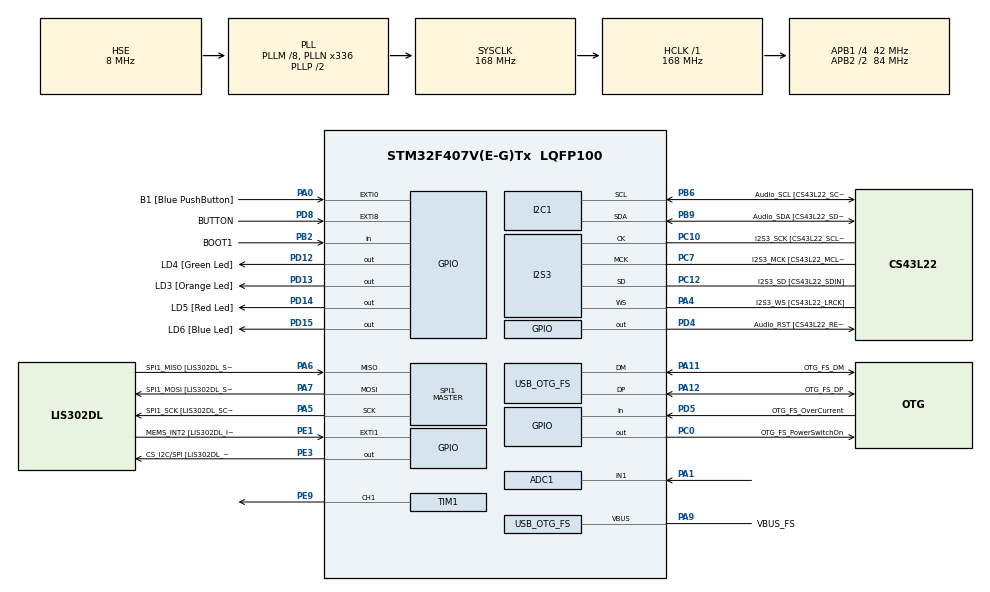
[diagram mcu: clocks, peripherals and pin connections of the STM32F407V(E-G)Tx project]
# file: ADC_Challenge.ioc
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ADC1.Channel-0\#ChannelRegularConversion=ADC_CHANNEL_1
ADC1.ContinuousConvMode=ENABLE
ADC1.NbrOfConversionFlag=1
ADC1.Rank-0\#ChannelRegularConversion=1
ADC1.SamplingTime-0\#ChannelRegularConversion=ADC_SAMPLETIME_480CYCLES
ADC1.master=1
I2S3.AudioFreq-Half_Duplex_Master=I2S_AUDIOFREQ_96K
I2S3.ErrorAudioFreq=-2.34 %
I2S3.ErrorAudioFreq-Half_Duplex_Master=0.8 %
I2S3.FullDuplexMode=I2S_FULLDUPLEXMODE_DISABLE
I2S3.Instance=SPI$Index
I2S3.RealAudioFreq=93.75 KHz
I2S3.RealAudioFreq-Half_Duplex_Master=96.774 KHz
I2S3.VirtualMode=I2S_MODE_MASTER
Mcu.Family=STM32F4
Mcu.Name=STM32F407V(E-G)Tx
Mcu.Package=LQFP100
NVIC.ADC_IRQn=true\:0\:0\:false\:false\:true\:true\:true\:true
NVIC.OTG_FS_IRQn=true\:0\:0\:false\:false\:true\:true\:true\:true
NVIC.PriorityGroup=NVIC_PRIORITYGROUP_0
NVIC.TIM2_IRQn=true\:0\:0\:false\:false\:true\:true\:true\:true
PA0-WKUP.GPIO_Label=B1 [Blue PushButton]
PA0-WKUP.GPIO_ModeDefaultEXTI=GPIO_MODE_EVT_RISING
PA0-WKUP.GPIO_PuPd=GPIO_NOPULL
PA0-WKUP.Signal=GPXTI0
PA1.Signal=ADCx_IN1
PA10.GPIO_Label=OTG_FS_ID
PA10.GPIO_Mode=GPIO_MODE_AF_PP
PA10.GPIO_PuPd=GPIO_NOPULL
PA10.GPIO_Speed=GPIO_SPEED_FREQ_LOW
PA10.Signal=USB_OTG_FS_ID
PA11.GPIO_Label=OTG_FS_DM
PA11.GPIO_Mode=GPIO_MODE_AF_PP
PA11.GPIO_PuPd=GPIO_NOPULL
PA11.GPIO_Speed=GPIO_SPEED_FREQ_LOW
PA11.Mode=Host_Only
PA11.Signal=USB_OTG_FS_DM
PA12.GPIO_Label=OTG_FS_DP
PA12.GPIO_Mode=GPIO_MODE_AF_PP
PA12.GPIO_PuPd=GPIO_NOPULL
PA12.GPIO_Speed=GPIO_SPEED_FREQ_LOW
PA12.Mode=Host_Only
PA12.Signal=USB_OTG_FS_DP
PA13.GPIO_Label=SWDIO
PA13.Mode=Serial_Wire
PA13.Signal=SYS_JTMS-SWDIO
PA14.GPIO_Label=SWCLK
PA14.Mode=Serial_Wire
PA14.Signal=SYS_JTCK-SWCLK
PA4.GPIO_Label=I2S3_WS [CS43L22_LRCK]
PA4.GPIO_Mode=GPIO_MODE_AF_PP
PA4.GPIO_PuPd=GPIO_NOPULL
PA4.GPIO_Speed=GPIO_SPEED_FREQ_LOW
PA4.Mode=Half_Duplex_Master
PA4.Signal=I2S3_WS
PA5.GPIO_Label=SPI1_SCK [LIS302DL_SCL/SPC]
PA5.GPIO_Mode=GPIO_MODE_AF_PP
PA5.GPIO_PuPd=GPIO_NOPULL
PA5.GPIO_Speed=GPIO_SPEED_FREQ_LOW
PA5.Mode=Full_Duplex_Master
PA5.Signal=SPI1_SCK
PA6.GPIO_Label=SPI1_MISO [LIS302DL_SDO]
PA6.GPIO_Mode=GPIO_MODE_AF_PP
PA6.GPIO_PuPd=GPIO_NOPULL
PA6.GPIO_Speed=GPIO_SPEED_FREQ_LOW
PA6.Mode=Full_Duplex_Master
PA6.Signal=SPI1_MISO
PA7.GPIO_Label=SPI1_MOSI [LIS302DL_SDA/SDI/SDO]
PA7.GPIO_Mode=GPIO_MODE_AF_PP
PA7.GPIO_PuPd=GPIO_NOPULL
PA7.GPIO_Speed=GPIO_SPEED_FREQ_LOW
PA7.Mode=Full_Duplex_Master
PA7.Signal=SPI1_MOSI
PA9.GPIO_Label=VBUS_FS
PA9.GPIO_Mode=GPIO_MODE_INPUT
PA9.GPIO_PuPd=GPIO_NOPULL
PA9.Mode=Activate_VBUS
PA9.Signal=USB_OTG_FS_VBUS
PB10.GPIO_Label=CLK_IN [MP45DT02_CLK]
PB10.GPIO_Mode=GPIO_MODE_AF_PP
PB10.GPIO_PuPd=GPIO_NOPULL
PB10.GPIO_Speed=GPIO_SPEED_FREQ_LOW
PB10.Signal=I2S2_CK
PB2.GPIO_Label=BOOT1
PB2.GPIO_Mode=GPIO_MODE_INPUT
PB2.GPIO_PuPd=GPIO_NOPULL
PB2.Signal=GPIO_Input
PB3.GPIO_Label=SWO
PB3.Signal=SYS_JTDO-SWO
PB6.GPIO_Label=Audio_SCL [CS43L22_SCL]
PB6.GPIO_Mode=GPIO_MODE_AF_OD
PB6.GPIO_Pu=GPIO_PULLUP
PB6.GPIO_PuPd=GPIO_NOPULL
PB6.GPIO_Speed=GPIO_SPEED_FREQ_LOW
PB6.Mode=I2C
PB6.Signal=I2C1_SCL
PB9.GPIO_Label=Audio_SDA [CS43L22_SDA]
PB9.GPIO_Mode=GPIO_MODE_AF_OD
PB9.GPIO_Pu=GPIO_PULLUP
PB9.GPIO_PuPd=GPIO_NOPULL
PB9.GPIO_Speed=GPIO_SPEED_FREQ_LOW
PB9.Mode=I2C
PB9.Signal=I2C1_SDA
PC0.GPIO_Label=OTG_FS_PowerSwitchOn
PC0.GPIO_PuPd=GPIO_NOPULL
PC0.GPIO_Speed=GPIO_SPEED_FREQ_LOW
PC0.PinState=GPIO_PIN_SET
PC0.Signal=GPIO_Output
PC10.GPIO_Label=I2S3_SCK [CS43L22_SCLK]
PC10.GPIO_Mode=GPIO_MODE_AF_PP
PC10.GPIO_PuPd=GPIO_NOPULL
PC10.GPIO_Speed=GPIO_SPEED_FREQ_LOW
PC10.Mode=Half_Duplex_Master
PC10.Signal=I2S3_CK
PC12.GPIO_Label=I2S3_SD [CS43L22_SDIN]
PC12.GPIO_Mode=GPIO_MODE_AF_PP
PC12.GPIO_PuPd=GPIO_NOPULL
PC12.GPIO_Speed=GPIO_SPEED_FREQ_LOW
PC12.Mode=Half_Duplex_Master
PC12.Signal=I2S3_SD
PC14-OSC32_IN.GPIO_Label=PC14-OSC32_IN
PC14-OSC32_IN.Mode=LSE-External-Oscillator
PC14-OSC32_IN.Signal=RCC_OSC32_IN
PC15-OSC32_OUT.GPIO_Label=PC15-OSC32_OUT
PC15-OSC32_OUT.Mode=LSE-External-Oscillator
PC15-OSC32_OUT.Signal=RCC_OSC32_OUT
PC3.GPIO_Label=PDM_OUT [MP45DT02_DOUT]
PC3.GPIO_Mode=GPIO_MODE_AF_PP
PC3.GPIO_PuPd=GPIO_NOPULL
PC3.GPIO_Speed=GPIO_SPEED_FREQ_LOW
PC3.Signal=I2S2_SD
PC7.GPIO_Label=I2S3_MCK [CS43L22_MCLK]
PC7.GPIO_Mode=GPIO_MODE_AF_PP
PC7.GPIO_PuPd=GPIO_NOPULL
PC7.GPIO_Speed=GPIO_SPEED_FREQ_LOW
PC7.Mode=Master_Clock_Activated
PC7.Signal=I2S3_MCK
PD12.GPIO_Label=LD4 [Green Led]
PD12.GPIO_PuPd=GPIO_NOPULL
PD12.GPIO_Speed=GPIO_SPEED_FREQ_LOW
PD12.Signal=GPIO_Output
PD13.GPIO_Label=LD3 [Orange Led]
PD13.GPIO_PuPd=GPIO_NOPULL
PD13.GPIO_Speed=GPIO_SPEED_FREQ_LOW
PD13.Signal=GPIO_Output
PD14.GPIO_Label=LD5 [Red Led]
PD14.GPIO_PuPd=GPIO_NOPULL
PD14.GPIO_Speed=GPIO_SPEED_FREQ_LOW
PD14.Signal=GPIO_Output
PD15.GPIO_Label=LD6 [Blue Led]
PD15.GPIO_PuPd=GPIO_NOPULL
PD15.GPIO_Speed=GPIO_SPEED_FREQ_LOW
PD15.Signal=GPIO_Output
PD4.GPIO_Label=Audio_RST [CS43L22_RESET]
PD4.GPIO_PuPd=GPIO_NOPULL
PD4.GPIO_Speed=GPIO_SPEED_FREQ_LOW
PD4.Signal=GPIO_Output
PD5.GPIO_Label=OTG_FS_OverCurrent
PD5.GPIO_Mode=GPIO_MODE_INPUT
PD5.GPIO_PuPd=GPIO_NOPULL
PD5.Signal=GPIO_Input
PD8.GPIO_Label=BUTTON
PD8.GPIO_PuPd=GPIO_PULLDOWN
PD8.Signal=GPXTI8
PE1.GPIO_Label=MEMS_INT2 [LIS302DL_INT2]
PE1.GPIO_ModeDefaultEXTI=GPIO_MODE_EVT_RISING
PE1.GPIO_PuPd=GPIO_NOPULL
PE1.Signal=GPXTI1
PE3.GPIO_Label=CS_I2C/SPI [LIS302DL_CS_I2C/SPI]
PE3.GPIO_PuPd=GPIO_NOPULL
PE3.GPIO_Speed=GPIO_SPEED_FREQ_LOW
PE3.Signal=GPIO_Output
PE9.Signal=S_TIM1_CH1
PH0-OSC_IN.GPIO_Label=PH0-OSC_IN
PH0-OSC_IN.Mode=HSE-External-Oscillator
PH0-OSC_IN.Signal=RCC_OSC_IN
PH1-OSC_OUT.GPIO_Label=PH1-OSC_OUT
PH1-OSC_OUT.Mode=HSE-External-Oscillator
PH1-OSC_OUT.Signal=RCC_OSC_OUT
ProjectManager.HeapSize=0x200
ProjectManager.StackSize=0x400
ProjectManager.TargetToolchain=STM32CubeIDE
RCC.48MHZClocksFreq_Value=48000000
RCC.AHBFreq_Value=168000000
RCC.APB1CLKDivider=RCC_HCLK_DIV4
RCC.APB1Freq_Value=42000000
RCC.APB1TimFreq_Value=84000000
RCC.APB2CLKDivider=RCC_HCLK_DIV2
RCC.APB2Freq_Value=84000000
RCC.APB2TimFreq_Value=168000000
RCC.CortexFreq_Value=168000000
RCC.HCLKFreq_Value=168000000
RCC.HSE_VALUE=8000000
RCC.HSI_VALUE=16000000
RCC.PLLM=8
RCC.PLLN=336
RCC.PLLQ=7
RCC.SYSCLKFreq_VALUE=168000000
RCC.SYSCLKSource=RCC_SYSCLKSOURCE_PLLCLK
RCC.VCOOutputFreq_Value=336000000
SH.ADCx_IN1.0=ADC1_IN1,IN1
SH.S_TIM1_CH1.0=TIM1_CH1,PWM Generation1 CH1
SPI1.BaudRatePrescaler-Full_Duplex_Master=SPI_BAUDRATEPRESCALER_2
SPI1.CalculateBaudRate-Full_Duplex_Master=42.0 MBits/s
SPI1.Direction=SPI_DIRECTION_2LINES
SPI1.Mode=SPI_MODE_MASTER
SPI1.Mode-Full_Duplex_Master=SPI_MODE_MASTER
SPI1.VirtualType=VM_MASTER
TIM1.Channel-PWM\ Generation1\ CH1=TIM_CHANNEL_1
TIM1.Period=100-1
TIM1.Prescaler=168-1
TIM1.Pulse-PWM\ Generation1\ CH1=50
TIM2.Period=200-1
USB_HOST.BSP.number=1
USB_HOST.USBH_HandleTypeDef-CDC_FS=hUsbHostFS
USB_HOST.VirtualModeFS=Cdc
USB_HOST0.BSP.STBoard=false
USB_HOST0.BSP.api=Unknown
USB_HOST0.BSP.instance=PC0
USB_HOST0.BSP.ip=GPIO
USB_HOST0.BSP.mode=Output
USB_HOST0.BSP.name=Drive_VBUS_FS
USB_HOST0.BSP.solution=PC0
USB_OTG_FS.VirtualMode=Host_Only
USB_OTG_FS.phy_itface=HCD_PHY_EMBEDDED
VP_TIM2_VS_ClockSourceINT.Mode=Internal
VP_USB_HOST_VS_USB_HOST_CDC_FS.Mode=CDC_FS
board=STM32F407G-DISC1

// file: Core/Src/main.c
/* USER CODE BEGIN Header */
/**
  ******************************************************************************
  * @file           : main.c
  * @brief          : Main program body
  ******************************************************************************
  * @attention
  *
  * Copyright (c) 2025 STMicroelectronics.
  * All rights reserved.
  *
  * This software is licensed under terms that can be found in the LICENSE file
  * in the root directory of this software component.
  * If no LICENSE file comes with this software, it is provided AS-IS.
  *
  ******************************************************************************
  */
/* USER CODE END Header */
#include "main.h"
#include "usb_host.h"

ADC_HandleTypeDef hadc1;

I2C_HandleTypeDef hi2c1;

I2S_HandleTypeDef hi2s3;

SPI_HandleTypeDef hspi1;

TIM_HandleTypeDef htim1;
TIM_HandleTypeDef htim2;

/* USER CODE BEGIN PV */
uint16_t batteryValue = 0;
uint16_t batteryVoltage = 0;

uint16_t buttonCount = 0;

/* USER CODE END PV */

void SystemClock_Config(void);
static void MX_GPIO_Init(void);
static void MX_I2C1_Init(void);
static void MX_I2S3_Init(void);
static void MX_SPI1_Init(void);
static void MX_ADC1_Init(void);
static void MX_TIM1_Init(void);
static void MX_TIM2_Init(void);
void MX_USB_HOST_Process(void);

int main(void)
{

  /* MCU Configuration--------------------------------------------------------*/

  /* Reset of all peripherals, Initializes the Flash interface and the Systick. */
  HAL_Init();

  /* Configure the system clock */
  SystemClock_Config();

  /* Initialize all configured peripherals */
  MX_GPIO_Init();
  MX_I2C1_Init();
  MX_I2S3_Init();
  MX_SPI1_Init();
  MX_USB_HOST_Init();
  MX_ADC1_Init();
  MX_TIM1_Init();
  MX_TIM2_Init();
  /* USER CODE BEGIN 2 */
  HAL_ADC_Start_IT(&hadc1);
  /* USER CODE END 2 */

  /* Infinite loop */
  /* USER CODE BEGIN WHILE */
  while (1)
  {
	// Logic for PWM output (outputs 0 when battery is less than 6.5V, 5kHz when 6.5-7, and 10kHz when >7)
	if(batteryVoltage < 6.5) {
		HAL_TIM_PWM_Stop(&htim1,TIM_CHANNEL_1);
	} else if(batteryVoltage > 7) {
		HAL_TIM_PWM_Stop(&htim1, TIM_CHANNEL_1);
		__HAL_TIM_SET_AUTORELOAD(&htim1, 100);
		__HAL_TIM_SET_COMPARE(&htim1, TIM_CHANNEL_1, 50);
		__HAL_TIM_SET_COUNTER(&htim1, 0);
		TIM1->EGR = TIM_EGR_UG;
		HAL_TIM_PWM_Start(&htim1, TIM_CHANNEL_1);
	} else {
		HAL_TIM_PWM_Stop(&htim1,TIM_CHANNEL_1);
		__HAL_TIM_SET_AUTORELOAD(&htim1, 200);
		__HAL_TIM_SET_COMPARE(&htim1, TIM_CHANNEL_1, 100);
		__HAL_TIM_SET_COUNTER(&htim1, 0);
		TIM1->EGR = TIM_EGR_UG;
		HAL_TIM_PWM_Start(&htim1, TIM_CHANNEL_1);
	}
    /* USER CODE END WHILE */
    MX_USB_HOST_Process();

  }
}

void SystemClock_Config(void)
{
  RCC_OscInitTypeDef RCC_OscInitStruct = {0};
  RCC_ClkInitTypeDef RCC_ClkInitStruct = {0};

  /** Configure the main internal regulator output voltage
  */
  __HAL_RCC_PWR_CLK_ENABLE();
  __HAL_PWR_VOLTAGESCALING_CONFIG(PWR_REGULATOR_VOLTAGE_SCALE1);

  /** Initializes the RCC Oscillators according to the specified parameters
  * in the RCC_OscInitTypeDef structure.
  */
  RCC_OscInitStruct.OscillatorType = RCC_OSCILLATORTYPE_HSE;
  RCC_OscInitStruct.HSEState = RCC_HSE_ON;
  RCC_OscInitStruct.PLL.PLLState = RCC_PLL_ON;
  RCC_OscInitStruct.PLL.PLLSource = RCC_PLLSOURCE_HSE;
  RCC_OscInitStruct.PLL.PLLM = 8;
  RCC_OscInitStruct.PLL.PLLN = 336;
  RCC_OscInitStruct.PLL.PLLP = RCC_PLLP_DIV2;
  RCC_OscInitStruct.PLL.PLLQ = 7;
  if (HAL_RCC_OscConfig(&RCC_OscInitStruct) != HAL_OK)
  {
    Error_Handler();
  }

  /** Initializes the CPU, AHB and APB buses clocks
  */
  RCC_ClkInitStruct.ClockType = RCC_CLOCKTYPE_HCLK|RCC_CLOCKTYPE_SYSCLK
                              |RCC_CLOCKTYPE_PCLK1|RCC_CLOCKTYPE_PCLK2;
  RCC_ClkInitStruct.SYSCLKSource = RCC_SYSCLKSOURCE_PLLCLK;
  RCC_ClkInitStruct.AHBCLKDivider = RCC_SYSCLK_DIV1;
  RCC_ClkInitStruct.APB1CLKDivider = RCC_HCLK_DIV4;
  RCC_ClkInitStruct.APB2CLKDivider = RCC_HCLK_DIV2;

  if (HAL_RCC_ClockConfig(&RCC_ClkInitStruct, FLASH_LATENCY_5) != HAL_OK)
  {
    Error_Handler();
  }
}

static void MX_ADC1_Init(void)
{

  ADC_ChannelConfTypeDef sConfig = {0};

  /** Configure the global features of the ADC (Clock, Resolution, Data Alignment and number of conversion)
  */
  hadc1.Instance = ADC1;
  hadc1.Init.ClockPrescaler = ADC_CLOCK_SYNC_PCLK_DIV4;
  hadc1.Init.Resolution = ADC_RESOLUTION_12B;
  hadc1.Init.ScanConvMode = DISABLE;
  hadc1.Init.ContinuousConvMode = ENABLE;
  hadc1.Init.DiscontinuousConvMode = DISABLE;
  hadc1.Init.ExternalTrigConvEdge = ADC_EXTERNALTRIGCONVEDGE_NONE;
  hadc1.Init.ExternalTrigConv = ADC_SOFTWARE_START;
  hadc1.Init.DataAlign = ADC_DATAALIGN_RIGHT;
  hadc1.Init.NbrOfConversion = 1;
  hadc1.Init.DMAContinuousRequests = DISABLE;
  hadc1.Init.EOCSelection = ADC_EOC_SINGLE_CONV;
  if (HAL_ADC_Init(&hadc1) != HAL_OK)
  {
    Error_Handler();
  }

  /** Configure for the selected ADC regular channel its corresponding rank in the sequencer and its sample time.
  */
  sConfig.Channel = ADC_CHANNEL_1;
  sConfig.Rank = 1;
  sConfig.SamplingTime = ADC_SAMPLETIME_480CYCLES;
  if (HAL_ADC_ConfigChannel(&hadc1, &sConfig) != HAL_OK)
  {
    Error_Handler();
  }

}

static void MX_I2C1_Init(void)
{

  hi2c1.Instance = I2C1;
  hi2c1.Init.ClockSpeed = 100000;
  hi2c1.Init.DutyCycle = I2C_DUTYCYCLE_2;
  hi2c1.Init.OwnAddress1 = 0;
  hi2c1.Init.AddressingMode = I2C_ADDRESSINGMODE_7BIT;
  hi2c1.Init.DualAddressMode = I2C_DUALADDRESS_DISABLE;
  hi2c1.Init.OwnAddress2 = 0;
  hi2c1.Init.GeneralCallMode = I2C_GENERALCALL_DISABLE;
  hi2c1.Init.NoStretchMode = I2C_NOSTRETCH_DISABLE;
  if (HAL_I2C_Init(&hi2c1) != HAL_OK)
  {
    Error_Handler();
  }

}

static void MX_I2S3_Init(void)
{

  hi2s3.Instance = SPI3;
  hi2s3.Init.Mode = I2S_MODE_MASTER_TX;
  hi2s3.Init.Standard = I2S_STANDARD_PHILIPS;
  hi2s3.Init.DataFormat = I2S_DATAFORMAT_16B;
  hi2s3.Init.MCLKOutput = I2S_MCLKOUTPUT_ENABLE;
  hi2s3.Init.AudioFreq = I2S_AUDIOFREQ_96K;
  hi2s3.Init.CPOL = I2S_CPOL_LOW;
  hi2s3.Init.ClockSource = I2S_CLOCK_PLL;
  hi2s3.Init.FullDuplexMode = I2S_FULLDUPLEXMODE_DISABLE;
  if (HAL_I2S_Init(&hi2s3) != HAL_OK)
  {
    Error_Handler();
  }

}

static void MX_SPI1_Init(void)
{

  /* SPI1 parameter configuration*/
  hspi1.Instance = SPI1;
  hspi1.Init.Mode = SPI_MODE_MASTER;
  hspi1.Init.Direction = SPI_DIRECTION_2LINES;
  hspi1.Init.DataSize = SPI_DATASIZE_8BIT;
  hspi1.Init.CLKPolarity = SPI_POLARITY_LOW;
  hspi1.Init.CLKPhase = SPI_PHASE_1EDGE;
  hspi1.Init.NSS = SPI_NSS_SOFT;
  hspi1.Init.BaudRatePrescaler = SPI_BAUDRATEPRESCALER_2;
  hspi1.Init.FirstBit = SPI_FIRSTBIT_MSB;
  hspi1.Init.TIMode = SPI_TIMODE_DISABLE;
  hspi1.Init.CRCCalculation = SPI_CRCCALCULATION_DISABLE;
  hspi1.Init.CRCPolynomial = 10;
  if (HAL_SPI_Init(&hspi1) != HAL_OK)
  {
    Error_Handler();
  }

}

static void MX_TIM1_Init(void)
{

  TIM_MasterConfigTypeDef sMasterConfig = {0};
  TIM_OC_InitTypeDef sConfigOC = {0};
  TIM_BreakDeadTimeConfigTypeDef sBreakDeadTimeConfig = {0};

  htim1.Instance = TIM1;
  htim1.Init.Prescaler = 168-1;
  htim1.Init.CounterMode = TIM_COUNTERMODE_UP;
  htim1.Init.Period = 100-1;
  htim1.Init.ClockDivision = TIM_CLOCKDIVISION_DIV1;
  htim1.Init.RepetitionCounter = 0;
  htim1.Init.AutoReloadPreload = TIM_AUTORELOAD_PRELOAD_DISABLE;
  if (HAL_TIM_PWM_Init(&htim1) != HAL_OK)
  {
    Error_Handler();
  }
  sMasterConfig.MasterOutputTrigger = TIM_TRGO_RESET;
  sMasterConfig.MasterSlaveMode = TIM_MASTERSLAVEMODE_DISABLE;
  if (HAL_TIMEx_MasterConfigSynchronization(&htim1, &sMasterConfig) != HAL_OK)
  {
    Error_Handler();
  }
  sConfigOC.OCMode = TIM_OCMODE_PWM1;
  sConfigOC.Pulse = 50;
  sConfigOC.OCPolarity = TIM_OCPOLARITY_HIGH;
  sConfigOC.OCNPolarity = TIM_OCNPOLARITY_HIGH;
  sConfigOC.OCFastMode = TIM_OCFAST_DISABLE;
  sConfigOC.OCIdleState = TIM_OCIDLESTATE_RESET;
  sConfigOC.OCNIdleState = TIM_OCNIDLESTATE_RESET;
  if (HAL_TIM_PWM_ConfigChannel(&htim1, &sConfigOC, TIM_CHANNEL_1) != HAL_OK)
  {
    Error_Handler();
  }
  sBreakDeadTimeConfig.OffStateRunMode = TIM_OSSR_DISABLE;
  sBreakDeadTimeConfig.OffStateIDLEMode = TIM_OSSI_DISABLE;
  sBreakDeadTimeConfig.LockLevel = TIM_LOCKLEVEL_OFF;
  sBreakDeadTimeConfig.DeadTime = 0;
  sBreakDeadTimeConfig.BreakState = TIM_BREAK_DISABLE;
  sBreakDeadTimeConfig.BreakPolarity = TIM_BREAKPOLARITY_HIGH;
  sBreakDeadTimeConfig.AutomaticOutput = TIM_AUTOMATICOUTPUT_DISABLE;
  if (HAL_TIMEx_ConfigBreakDeadTime(&htim1, &sBreakDeadTimeConfig) != HAL_OK)
  {
    Error_Handler();
  }
  HAL_TIM_MspPostInit(&htim1);

}

static void MX_TIM2_Init(void)
{

  TIM_ClockConfigTypeDef sClockSourceConfig = {0};
  TIM_MasterConfigTypeDef sMasterConfig = {0};

  htim2.Instance = TIM2;
  htim2.Init.Prescaler = 0;
  htim2.Init.CounterMode = TIM_COUNTERMODE_UP;
  htim2.Init.Period = 200-1;
  htim2.Init.ClockDivision = TIM_CLOCKDIVISION_DIV1;
  htim2.Init.AutoReloadPreload = TIM_AUTORELOAD_PRELOAD_DISABLE;
  if (HAL_TIM_Base_Init(&htim2) != HAL_OK)
  {
    Error_Handler();
  }
  sClockSourceConfig.ClockSource = TIM_CLOCKSOURCE_INTERNAL;
  if (HAL_TIM_ConfigClockSource(&htim2, &sClockSourceConfig) != HAL_OK)
  {
    Error_Handler();
  }
  sMasterConfig.MasterOutputTrigger = TIM_TRGO_RESET;
  sMasterConfig.MasterSlaveMode = TIM_MASTERSLAVEMODE_DISABLE;
  if (HAL_TIMEx_MasterConfigSynchronization(&htim2, &sMasterConfig) != HAL_OK)
  {
    Error_Handler();
  }

}

static void MX_GPIO_Init(void)
{
  GPIO_InitTypeDef GPIO_InitStruct = {0};

  /* GPIO Ports Clock Enable */
  __HAL_RCC_GPIOE_CLK_ENABLE();
  __HAL_RCC_GPIOC_CLK_ENABLE();
  __HAL_RCC_GPIOH_CLK_ENABLE();
  __HAL_RCC_GPIOA_CLK_ENABLE();
  __HAL_RCC_GPIOB_CLK_ENABLE();
  __HAL_RCC_GPIOD_CLK_ENABLE();

  /*Configure GPIO pin Output Level */
  HAL_GPIO_WritePin(CS_I2C_SPI_GPIO_Port, CS_I2C_SPI_Pin, GPIO_PIN_RESET);

  /*Configure GPIO pin Output Level */
  HAL_GPIO_WritePin(OTG_FS_PowerSwitchOn_GPIO_Port, OTG_FS_PowerSwitchOn_Pin, GPIO_PIN_SET);

  /*Configure GPIO pin Output Level */
  HAL_GPIO_WritePin(GPIOD, LD4_Pin|LD3_Pin|LD5_Pin|LD6_Pin
                          |Audio_RST_Pin, GPIO_PIN_RESET);

  /*Configure GPIO pin : CS_I2C_SPI_Pin */
  GPIO_InitStruct.Pin = CS_I2C_SPI_Pin;
  GPIO_InitStruct.Mode = GPIO_MODE_OUTPUT_PP;
  GPIO_InitStruct.Pull = GPIO_NOPULL;
  GPIO_InitStruct.Speed = GPIO_SPEED_FREQ_LOW;
  HAL_GPIO_Init(CS_I2C_SPI_GPIO_Port, &GPIO_InitStruct);

  /*Configure GPIO pin : OTG_FS_PowerSwitchOn_Pin */
  GPIO_InitStruct.Pin = OTG_FS_PowerSwitchOn_Pin;
  GPIO_InitStruct.Mode = GPIO_MODE_OUTPUT_PP;
  GPIO_InitStruct.Pull = GPIO_NOPULL;
  GPIO_InitStruct.Speed = GPIO_SPEED_FREQ_LOW;
  HAL_GPIO_Init(OTG_FS_PowerSwitchOn_GPIO_Port, &GPIO_InitStruct);

  /*Configure GPIO pin : PDM_OUT_Pin */
  GPIO_InitStruct.Pin = PDM_OUT_Pin;
  GPIO_InitStruct.Mode = GPIO_MODE_AF_PP;
  GPIO_InitStruct.Pull = GPIO_NOPULL;
  GPIO_InitStruct.Speed = GPIO_SPEED_FREQ_LOW;
  GPIO_InitStruct.Alternate = GPIO_AF5_SPI2;
  HAL_GPIO_Init(PDM_OUT_GPIO_Port, &GPIO_InitStruct);

  /*Configure GPIO pin : B1_Pin */
  GPIO_InitStruct.Pin = B1_Pin;
  GPIO_InitStruct.Mode = GPIO_MODE_EVT_RISING;
  GPIO_InitStruct.Pull = GPIO_NOPULL;
  HAL_GPIO_Init(B1_GPIO_Port, &GPIO_InitStruct);

  /*Configure GPIO pin : BOOT1_Pin */
  GPIO_InitStruct.Pin = BOOT1_Pin;
  GPIO_InitStruct.Mode = GPIO_MODE_INPUT;
  GPIO_InitStruct.Pull = GPIO_NOPULL;
  HAL_GPIO_Init(BOOT1_GPIO_Port, &GPIO_InitStruct);

  /*Configure GPIO pin : CLK_IN_Pin */
  GPIO_InitStruct.Pin = CLK_IN_Pin;
  GPIO_InitStruct.Mode = GPIO_MODE_AF_PP;
  GPIO_InitStruct.Pull = GPIO_NOPULL;
  GPIO_InitStruct.Speed = GPIO_SPEED_FREQ_LOW;
  GPIO_InitStruct.Alternate = GPIO_AF5_SPI2;
  HAL_GPIO_Init(CLK_IN_GPIO_Port, &GPIO_InitStruct);

  /*Configure GPIO pin : BUTTON_Pin */
  GPIO_InitStruct.Pin = BUTTON_Pin;
  GPIO_InitStruct.Mode = GPIO_MODE_IT_RISING;
  GPIO_InitStruct.Pull = GPIO_PULLDOWN;
  HAL_GPIO_Init(BUTTON_GPIO_Port, &GPIO_InitStruct);

  /*Configure GPIO pins : LD4_Pin LD3_Pin LD5_Pin LD6_Pin
                           Audio_RST_Pin */
  GPIO_InitStruct.Pin = LD4_Pin|LD3_Pin|LD5_Pin|LD6_Pin
                          |Audio_RST_Pin;
  GPIO_InitStruct.Mode = GPIO_MODE_OUTPUT_PP;
  GPIO_InitStruct.Pull = GPIO_NOPULL;
  GPIO_InitStruct.Speed = GPIO_SPEED_FREQ_LOW;
  HAL_GPIO_Init(GPIOD, &GPIO_InitStruct);

  /*Configure GPIO pin : OTG_FS_OverCurrent_Pin */
  GPIO_InitStruct.Pin = OTG_FS_OverCurrent_Pin;
  GPIO_InitStruct.Mode = GPIO_MODE_INPUT;
  GPIO_InitStruct.Pull = GPIO_NOPULL;
  HAL_GPIO_Init(OTG_FS_OverCurrent_GPIO_Port, &GPIO_InitStruct);

  /*Configure GPIO pin : MEMS_INT2_Pin */
  GPIO_InitStruct.Pin = MEMS_INT2_Pin;
  GPIO_InitStruct.Mode = GPIO_MODE_EVT_RISING;
  GPIO_InitStruct.Pull = GPIO_NOPULL;
  HAL_GPIO_Init(MEMS_INT2_GPIO_Port, &GPIO_InitStruct);

}

/* USER CODE BEGIN 4 */
void HAL_ADC_ConvCpltCallback(ADC_HandleTypeDef *hadc)
{
	batteryValue = HAL_ADC_GetValue(hadc);
	batteryVoltage = batteryValue * 12 / 4096;
}

void HAL_GPIO_EXTI_Callback(uint16_t GPIO_Pin) {
	if(GPIO_Pin == GPIO_PIN_8)
	{
		buttonCount++;
	}
}

//TIM2 is running at 5Hz, so every 0.2s the system checks how many times the button has been pressed.
//(there is probably a better way to do this, especially since the timing must be dialed in)
void HAL_TIM_PeriodElapsedCallback(TIM_HandleTypeDef *htim) {
	if(htim->Instance == TIM2) {
		if(buttonCount == 1) {
			HAL_TIM_PWM_Stop(&htim1, TIM_CHANNEL_1);
		}
		//25% duty cycle represents CCW
		if(buttonCount == 2) {
			HAL_TIM_PWM_Stop(&htim1, TIM_CHANNEL_1);
			__HAL_TIM_SET_AUTORELOAD(&htim1, 100);
			__HAL_TIM_SET_COMPARE(&htim1, TIM_CHANNEL_1, 25);
			__HAL_TIM_SET_COUNTER(&htim1, 0);
			TIM1->EGR = TIM_EGR_UG;
			HAL_TIM_PWM_Start(&htim1, TIM_CHANNEL_1);
		}
		//75% duty cycle represents CW
		if(buttonCount == 3) {
			HAL_TIM_PWM_Stop(&htim1, TIM_CHANNEL_1);
			__HAL_TIM_SET_AUTORELOAD(&htim1, 100);
			__HAL_TIM_SET_COMPARE(&htim1, TIM_CHANNEL_1, 75);
			__HAL_TIM_SET_COUNTER(&htim1, 0);
			TIM1->EGR = TIM_EGR_UG;
			HAL_TIM_PWM_Start(&htim1, TIM_CHANNEL_1);
		}
		//reset button count after determining mode
		buttonCount = 0;
	}

}
/* USER CODE END 4 */

void Error_Handler(void)
{
  __disable_irq();
  while (1)
  {
  }
}
